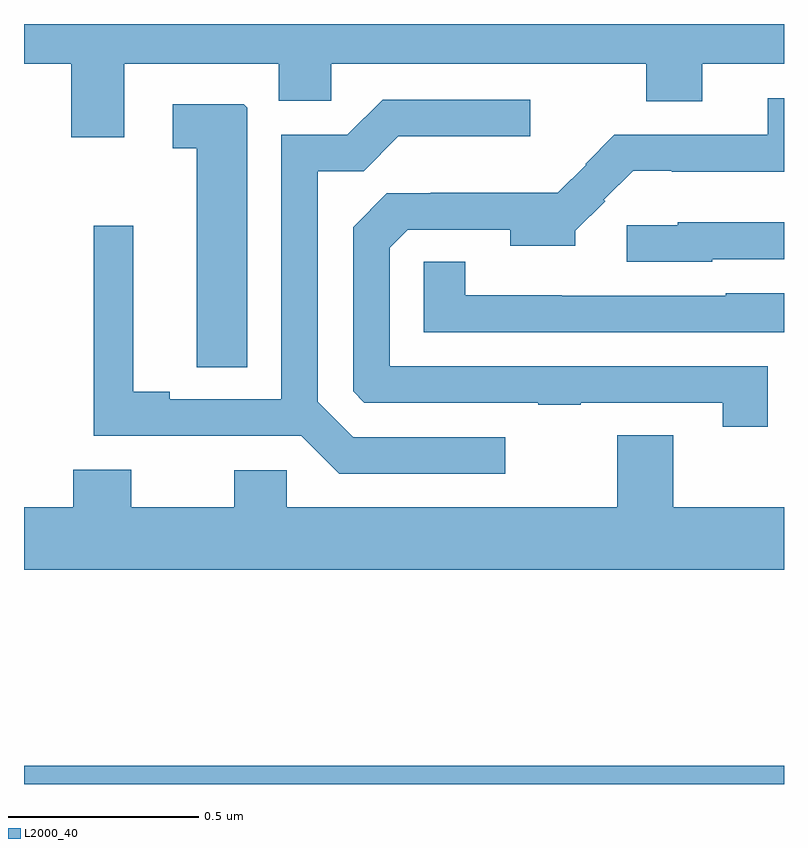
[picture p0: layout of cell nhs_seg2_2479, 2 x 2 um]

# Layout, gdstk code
import gdstk
lib = gdstk.Library(unit=1e-6, precision=1e-09)
def R(c, l, rs):  # rectangles x0, y0, x1, y1
    for r in rs: c.add(gdstk.rectangle(r[:2], r[2:], *l))
def P(c, l, *ps):  # polygons
    for p in ps: c.add(gdstk.Polygon(p, *l))
L2000_40 = (2000, 40)

nhs_seg2_2479 = lib.new_cell('nhs_seg2_2479')
R(nhs_seg2_2479, L2000_40, [(142,585.8,144,585.848)])
P(nhs_seg2_2479, L2000_40, [(142.264,587.696),(142.67,587.696),(142.67,587.598),(142.809,587.598),(142.809,587.696),(143.638,587.696),(143.638,587.597),(143.785,587.597),(143.785,587.696),(144,587.696),(144,587.8),(142,587.8),(142,587.696),(142.124,587.696),(142.124,587.502),(142.264,587.502)],
  [(143.957,586.899),(142.962,586.899),(142.962,587.211),(143.01,587.259),(143.279,587.259),(143.279,587.216),(143.45,587.216),(143.45,587.256),(143.529,587.334),(143.526,587.337),(143.603,587.414),(143.704,587.414),(143.704,587.411),(144,587.411),(144,587.604),(143.957,587.604),(143.957,587.508),(143.553,587.508),(143.477,587.431),(143.479,587.429),(143.405,587.356),(143.071,587.356),(143.071,587.354),(142.955,587.354),(142.866,587.265),(142.866,586.833),(142.896,586.803),(143.353,586.803),(143.353,586.798),(143.465,586.798),(143.465,586.803),(143.839,586.803),(143.839,586.74),(143.957,586.74)],
  [(143.266,586.713),(142.866,586.713),(142.773,586.806),(142.773,587.413),(142.894,587.413),(142.985,587.504),(143.332,587.504),(143.332,587.601),(142.944,587.601),(142.851,587.508),(142.677,587.508),(142.677,586.812),(142.384,586.812),(142.384,586.832),(142.288,586.832),(142.288,587.269),(142.184,587.269),(142.184,586.716),(142.73,586.716),(142.829,586.617),(143.266,586.617)],
  [(142.588,587.579),(142.578,587.589),(142.392,587.589),(142.392,587.473),(142.454,587.473),(142.454,586.897),(142.588,586.897)],
  [(143.811,587.181),(144,587.181),(144,587.278),(143.721,587.278),(143.721,587.271),(143.586,587.271),(143.586,587.175),(143.811,587.175)],
  [(144,587.092),(143.847,587.092),(143.847,587.085),(143.415,587.085),(143.415,587.086),(143.161,587.086),(143.161,587.174),(143.052,587.174),(143.052,586.989),(144,586.989)],
  [(144,586.528),(143.709,586.528),(143.709,586.718),(143.561,586.718),(143.561,586.528),(142.692,586.528),(142.692,586.626),(142.553,586.626),(142.553,586.528),(142.282,586.528),(142.282,586.627),(142.13,586.627),(142.13,586.528),(142,586.528),(142,586.364),(144,586.364)])

lib.write_gds('nhs_seg2_2479.gds')
